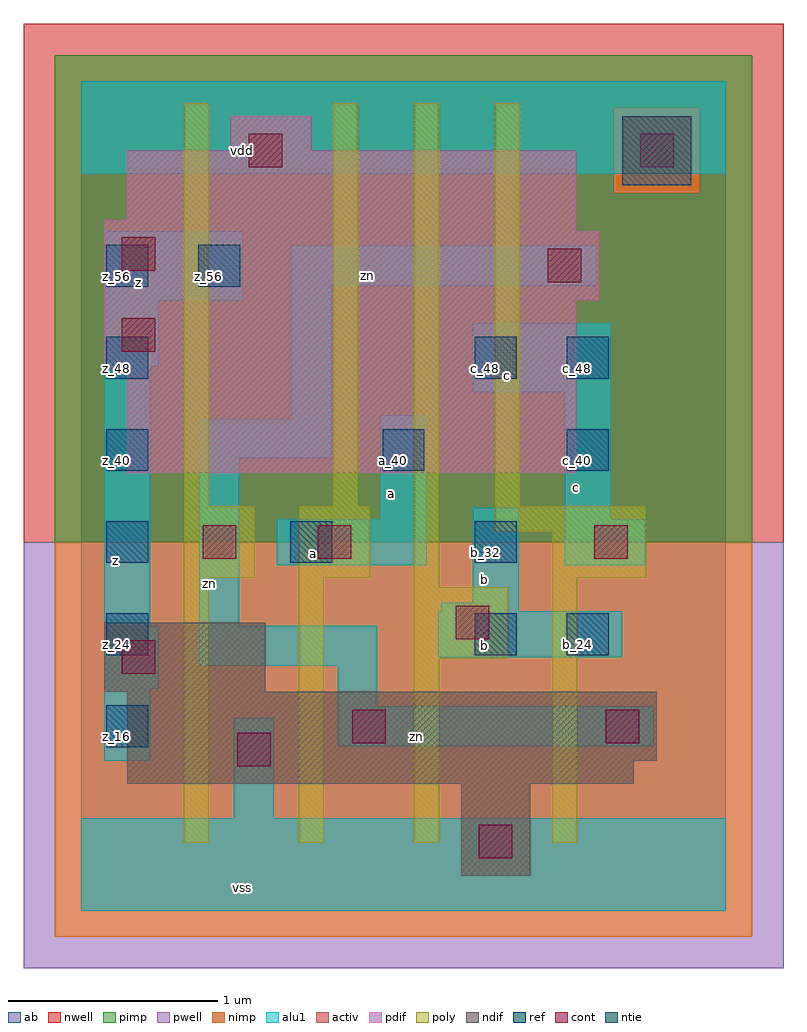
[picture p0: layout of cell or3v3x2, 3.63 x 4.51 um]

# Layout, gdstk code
import gdstk
lib = gdstk.Library(unit=1e-6, precision=2.5e-09)
def R(c, l, rs):  # rectangles x0, y0, x1, y1
    for r in rs: c.add(gdstk.rectangle(r[:2], r[2:], *l))
def A(c, l, x, y, w, h, nx, ny, dx, dy):  # array of equal rectangles
    R(c, l, [(x+i*dx, y+j*dy, x+i*dx+w, y+j*dy+h) for i in range(nx) for j in range(ny)])
ndif = (3, 0)
pdif = (4, 0)
ntie = (5, 0)
ref = (24, 0)
cont = (25, 0)
pwell = (41, 0)
nwell = (42, 0)
activ = (43, 0)
pimp = (44, 0)
nimp = (45, 0)
poly = (46, 0)
alu1 = (49, 0)
ab = (63, 0)

or3v3x2 = lib.new_cell('or3v3x2')
R(or3v3x2, ndif, [(1.815,0.165,2.145,0.605), (0.22,0.605,2.64,0.715), (0.22,0.715,2.75,1.045), (0.11,1.045,0.88,1.375)])
R(or3v3x2, pdif, [(0.22,2.09,2.365,2.585), (0.11,2.585,2.365,2.915), (0.11,2.915,2.475,3.245), (0.11,3.245,2.365,3.3), (0.22,3.3,2.365,3.63), (0.715,3.63,1.1,3.795)])
R(or3v3x2, ntie, [(2.585,3.465,2.915,3.795)])
A(or3v3x2, ref, 0.12, 1.66, 0.2, 0.2, 3, 1, 0.88, 0)
A(or3v3x2, ref, 0.12, 2.1, 0.2, 0.2, 1, 3, 0, 0.44)
R(or3v3x2, ref, [(0.12,0.78,0.32,0.98), (0.12,1.22,0.32,1.42), (1.88,1.22,2.08,1.42), (2.32,1.22,2.52,1.42), (1.44,2.1,1.64,2.3), (2.32,2.1,2.52,2.3), (1.88,2.54,2.08,2.74), (2.32,2.54,2.52,2.74), (0.56,2.98,0.76,3.18)])
R(or3v3x2, cont, [(1.9,0.25,2.06,0.41), (0.745,0.69,0.905,0.85), (1.295,0.8,1.455,0.96), (2.505,0.8,2.665,0.96), (0.195,1.13,0.355,1.29), (1.79,1.295,1.95,1.455), (0.58,1.68,0.74,1.84), (1.13,1.68,1.29,1.84), (2.45,1.68,2.61,1.84), (0.195,2.67,0.355,2.83), (2.23,3,2.39,3.16), (0.195,3.055,0.355,3.215), (0.8,3.55,0.96,3.71), (2.67,3.55,2.83,3.71)])
R(or3v3x2, pwell, [(-0.275,-0.275,3.355,1.76)])
R(or3v3x2, nwell, [(-0.275,1.76,3.355,4.235)])
R(or3v3x2, activ, [(1.815,0.165,2.145,0.605), (0.22,0.605,2.64,0.715), (0.22,0.715,2.75,1.045), (0.11,1.045,0.88,1.375), (0.22,2.09,2.365,2.585), (0.11,2.585,2.365,2.915), (0.11,2.915,2.475,3.245), (0.11,3.245,2.365,3.3), (0.22,3.3,2.365,3.63), (2.585,3.465,2.915,3.795), (0.715,3.63,1.1,3.795)])
R(or3v3x2, pimp, [(-0.125,1.76,3.205,3.425), (-0.125,3.425,2.545,3.835), (2.955,3.425,3.205,3.835), (-0.125,3.835,3.205,4.085)])
R(or3v3x2, nimp, [(-0.125,-0.125,3.205,1.76), (2.545,3.425,2.955,3.835)])
R(or3v3x2, poly, [(0.49,0.325,0.61,1.59), (1.04,0.325,1.16,1.59), (1.59,0.325,1.71,1.205), (2.25,0.325,2.37,1.59), (1.59,1.205,2.04,1.545), (1.59,1.545,1.71,3.855), (0.49,1.59,0.83,1.93), (1.04,1.59,1.38,1.93), (2.25,1.59,2.7,1.81), (1.975,1.81,2.7,1.93), (0.49,1.93,0.61,3.855), (1.205,1.93,1.325,3.855), (1.975,1.93,2.095,3.855)])
R(or3v3x2, alu1, [(0,0,3.08,0.44), (0.73,0.44,0.92,0.92), (0.11,0.715,0.33,1.06), (1.225,0.785,2.735,0.975), (1.225,0.975,1.415,1.17), (0.11,1.06,0.37,1.36), (0.565,1.17,1.415,1.36), (1.705,1.21,2.585,1.43), (0.11,1.36,0.33,2.6), (0.565,1.36,0.755,2.16), (1.72,1.43,2.09,1.47), (1.87,1.47,2.09,1.925), (0.935,1.65,1.65,1.87), (2.31,1.65,2.695,1.87), (1.43,1.87,1.65,2.365), (2.31,1.87,2.53,2.475), (0.565,2.16,1.195,2.35), (1.005,2.35,1.195,2.985), (1.87,2.475,2.53,2.805), (0.11,2.6,0.37,2.915), (0.11,2.915,0.77,3.245), (1.005,2.985,2.46,3.175), (0,3.52,3.08,3.96)])
R(or3v3x2, ab, [(0,0,3.08,3.96)])
or3v3x2.add(gdstk.Label('vss', (0.77,0.11), layer=49, texttype=0))
or3v3x2.add(gdstk.Label('zn', (1.6025,0.8325), layer=49, texttype=0))
or3v3x2.add(gdstk.Label('b', (1.925,1.265), layer=49, texttype=0))
or3v3x2.add(gdstk.Label('c', (2.365,2.02), layer=49, texttype=0))
or3v3x2.add(gdstk.Label('b', (1.925,1.5825), layer=49, texttype=0))
or3v3x2.add(gdstk.Label('a', (1.1125,1.705), layer=49, texttype=0))
or3v3x2.add(gdstk.Label('a', (1.485,1.9925), layer=49, texttype=0))
or3v3x2.add(gdstk.Label('zn', (0.6125,1.56), layer=49, texttype=0))
or3v3x2.add(gdstk.Label('c', (2.035,2.5575), layer=49, texttype=0))
or3v3x2.add(gdstk.Label('z', (0.165,1.67), layer=49, texttype=0))
or3v3x2.add(gdstk.Label('zn', (1.3675,3.0325), layer=49, texttype=0))
or3v3x2.add(gdstk.Label('z', (0.275,2.9975), layer=49, texttype=0))
or3v3x2.add(gdstk.Label('vdd', (0.77,3.63), layer=49, texttype=0))
or3v3x2.add(gdstk.Label('c_48', (2.37,2.59), layer=24, texttype=0))
or3v3x2.add(gdstk.Label('c_40', (2.37,2.15), layer=24, texttype=0))
or3v3x2.add(gdstk.Label('b_24', (2.37,1.27), layer=24, texttype=0))
or3v3x2.add(gdstk.Label('z_56', (0.17,3.03), layer=24, texttype=0))
or3v3x2.add(gdstk.Label('z_48', (0.17,2.59), layer=24, texttype=0))
or3v3x2.add(gdstk.Label('z_40', (0.17,2.15), layer=24, texttype=0))
or3v3x2.add(gdstk.Label('z_32', (0.17,1.71), layer=24, texttype=0))
or3v3x2.add(gdstk.Label('z_24', (0.17,1.27), layer=24, texttype=0))
or3v3x2.add(gdstk.Label('z_16', (0.17,0.83), layer=24, texttype=0))
or3v3x2.add(gdstk.Label('c_48', (1.93,2.59), layer=24, texttype=0))
or3v3x2.add(gdstk.Label('b_32', (1.93,1.71), layer=24, texttype=0))
or3v3x2.add(gdstk.Label('b_24', (1.93,1.27), layer=24, texttype=0))
or3v3x2.add(gdstk.Label('a_40', (1.49,2.15), layer=24, texttype=0))
or3v3x2.add(gdstk.Label('a_32', (1.05,1.71), layer=24, texttype=0))
or3v3x2.add(gdstk.Label('z_56', (0.61,3.03), layer=24, texttype=0))

lib.write_gds('or3v3x2.gds')
